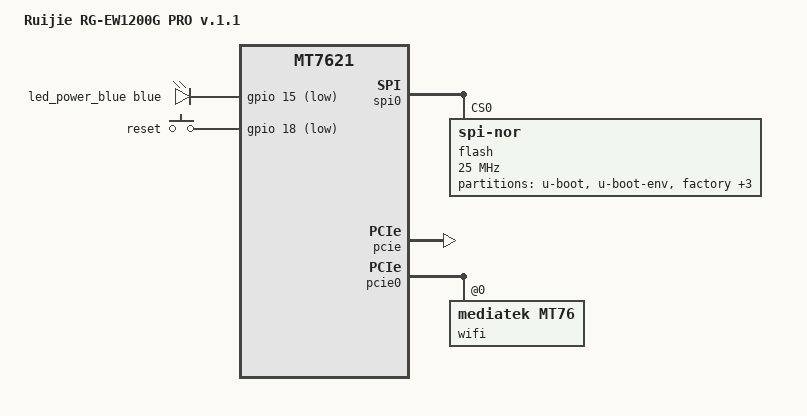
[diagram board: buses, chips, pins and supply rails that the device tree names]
// SPDX-License-Identifier: GPL-2.0-or-later OR MIT

#include "mt7621.dtsi"

#include <dt-bindings/gpio/gpio.h>
#include <dt-bindings/input/input.h>
#include <dt-bindings/leds/common.h>

/ {
	compatible = "ruijie,rg-ew1200g-pro-v1.1", "mediatek,mt7621-soc";
	model = "Ruijie RG-EW1200G PRO v.1.1";

	aliases {
		led-boot = &led_power_blue;
		led-failsafe = &led_power_blue;
		led-running = &led_power_blue;
		led-upgrade = &led_power_blue;
	};

	chosen {
		bootargs = "console=ttyS0,57600n8";
	};

	leds {
		compatible = "gpio-leds";

		led_power_blue: power_blue {
			function = LED_FUNCTION_POWER;
			color = <LED_COLOR_ID_BLUE>;
			gpios = <&gpio 15 GPIO_ACTIVE_LOW>;
		};
	};

	keys {
		compatible = "gpio-keys";

		reset {
			label = "reset";
			gpios = <&gpio 18 GPIO_ACTIVE_LOW>;
			linux,code = <KEY_RESTART>;
		};
	};
};

&spi0 {
	status = "okay";

	flash@0 {
		compatible = "jedec,spi-nor";
		reg = <0>;
		#address-cells = <1>;
		#size-cells = <1>;
		spi-max-frequency = <25000000>;

		partitions {
			compatible = "fixed-partitions";
			#address-cells = <1>;
			#size-cells = <1>;

			partition@0 {
				label = "u-boot";
				reg = <0x000000 0x50000>;
				read-only;
			};

			partition@50000 {
				label = "u-boot-env";
				reg = <0x50000 0x10000>;
				read-only;
			};

			partition@60000 {
				label = "factory";
				reg = <0x60000 0x10000>;
				read-only;

				nvmem-layout {
					compatible = "fixed-layout";
					#address-cells = <1>;
					#size-cells = <1>;

					eeprom_factory_0: eeprom@0 {
						reg = <0x0 0x4da8>;
					};
				};
			};

			partition@70000 {
				label = "product_info";
				reg = <0x70000 0x10000>;
				read-only;
			};

			partition@80000 {
				label = "kdump";
				reg = <0x80000 0x10000>;
				read-only;
			};

			partition@90000 {
				compatible = "denx,uimage";
				label = "firmware";
				reg = <0x90000 0xf70000>;
			};
		};
	};
};

&pcie {
	status = "okay";
};

&pcie0 {
	wifi@0,0 {
		compatible = "mediatek,mt76";
		reg = <0x0000 0 0 0 0>;
		nvmem-cells = <&eeprom_factory_0>;
		nvmem-cell-names = "eeprom";
	};
};

&switch0 {
	ports {
		port@0 {
			status = "okay";
			label = "wan";
		};

		port@1 {
			status = "okay";
			label = "lan3";
		};

		port@2 {
			status = "okay";
			label = "lan2";
		};

		port@3 {
			status = "okay";
			label = "lan1";
		};
	};
};
